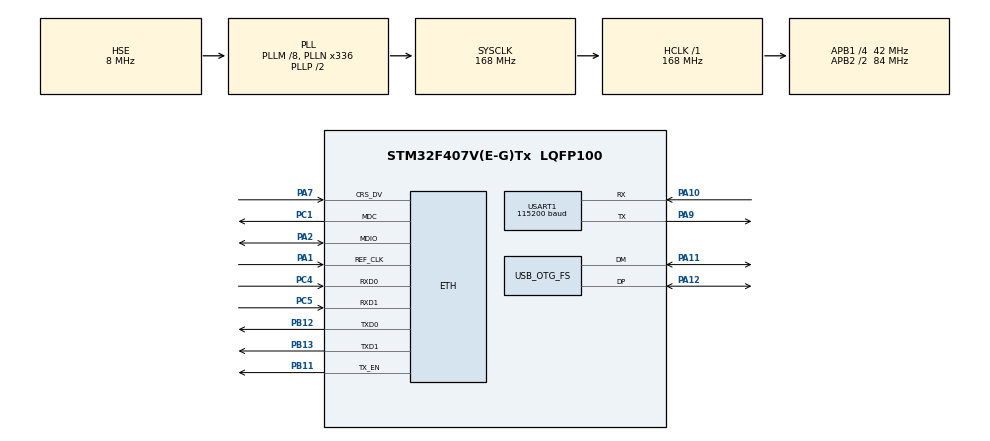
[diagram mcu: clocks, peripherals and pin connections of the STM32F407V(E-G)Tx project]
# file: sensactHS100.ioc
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ETH.MediaInterface=ETH_MEDIA_INTERFACE_RMII
ETH.PHY_Name_RMII=userPHY
ETH.PHY_SR=0x1f
ETH.PHY_User_Name=LAN8720
LWIP.GATEWAY_ADDRESS=192.168.001.001
LWIP.IP_ADDRESS=192.168.001.192
LWIP.LWIP_DHCP=0
LWIP.LWIP_HTTPD=1
LWIP.LWIP_HTTPD_SUPPORT_V09=0
LWIP.NETMASK_ADDRESS=255.255.255.000
LWIP.Version=v2.0.0_Cube
Mcu.Family=STM32F4
Mcu.Name=STM32F407V(E-G)Tx
Mcu.Package=LQFP100
NVIC.OTG_FS_IRQn=true\:0\:0\:false\:false\:true
NVIC.PriorityGroup=NVIC_PRIORITYGROUP_4
PA1.Mode=RMII
PA1.Signal=ETH_REF_CLK
PA10.Mode=Asynchronous
PA10.Signal=USART1_RX
PA11.Mode=Device_Only
PA11.Signal=USB_OTG_FS_DM
PA12.Mode=Device_Only
PA12.Signal=USB_OTG_FS_DP
PA2.Mode=RMII
PA2.Signal=ETH_MDIO
PA7.Mode=RMII
PA7.Signal=ETH_CRS_DV
PA9.Mode=Asynchronous
PA9.Signal=USART1_TX
PB11.Mode=RMII
PB11.Signal=ETH_TX_EN
PB12.Mode=RMII
PB12.Signal=ETH_TXD0
PB13.Mode=RMII
PB13.Signal=ETH_TXD1
PC1.Mode=RMII
PC1.Signal=ETH_MDC
PC4.Mode=RMII
PC4.Signal=ETH_RXD0
PC5.Mode=RMII
PC5.Signal=ETH_RXD1
PH0-OSC_IN.Mode=HSE-External-Oscillator
PH0-OSC_IN.Signal=RCC_OSC_IN
PH1-OSC_OUT.Mode=HSE-External-Oscillator
PH1-OSC_OUT.Signal=RCC_OSC_OUT
ProjectManager.HeapSize=0x200
ProjectManager.StackSize=0x400
ProjectManager.TargetToolchain=Makefile
RCC.48MHZClocksFreq_Value=48000000
RCC.AHBFreq_Value=168000000
RCC.APB1CLKDivider=RCC_HCLK_DIV4
RCC.APB1Freq_Value=42000000
RCC.APB1TimFreq_Value=84000000
RCC.APB2CLKDivider=RCC_HCLK_DIV2
RCC.APB2Freq_Value=84000000
RCC.APB2TimFreq_Value=168000000
RCC.CortexFreq_Value=168000000
RCC.HCLKFreq_Value=168000000
RCC.HSE_VALUE=8000000
RCC.HSI_VALUE=16000000
RCC.LSE_VALUE=32768
RCC.PLLM=8
RCC.PLLN=336
RCC.PLLQ=7
RCC.SYSCLKFreq_VALUE=168000000
RCC.SYSCLKSource=RCC_SYSCLKSOURCE_PLLCLK
RCC.VCOOutputFreq_Value=336000000
USART1.BaudRate=115200
USART1.VirtualMode=VM_ASYNC
USB_DEVICE.CLASS_NAME_FS=CDC
USB_DEVICE.USBD_DEBUG_LEVEL-CDC_FS=2
USB_DEVICE.VirtualModeFS=Cdc_FS
USB_OTG_FS.VirtualMode=Device_Only
USB_OTG_FS.vbus_sensing_enable=DISABLE
VP_LWIP_VS_Enabled.Mode=Enabled
VP_USB_DEVICE_VS_USB_DEVICE_CDC_FS.Mode=CDC_FS
board=sensactHS100

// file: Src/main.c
/**
  ******************************************************************************
  * File Name          : main.c
  * Description        : Main program body
  ******************************************************************************
  * This notice applies to any and all portions of this file
  * that are not between comment pairs USER CODE BEGIN and
  * USER CODE END. Other portions of this file, whether
  * inserted by the user or by software development tools
  * are owned by their respective copyright owners.
  *
  * Copyright (c) 2017 STMicroelectronics International N.V.
  * All rights reserved.
  *
  * Redistribution and use in source and binary forms, with or without
  * modification, are permitted, provided that the following conditions are met:
  *
  * 1. Redistribution of source code must retain the above copyright notice,
  *    this list of conditions and the following disclaimer.
  * 2. Redistributions in binary form must reproduce the above copyright notice,
  *    this list of conditions and the following disclaimer in the documentation
  *    and/or other materials provided with the distribution.
  * 3. Neither the name of STMicroelectronics nor the names of other
  *    contributors to this software may be used to endorse or promote products
  *    derived from this software without specific written permission.
  * 4. This software, including modifications and/or derivative works of this
  *    software, must execute solely and exclusively on microcontroller or
  *    microprocessor devices manufactured by or for STMicroelectronics.
  * 5. Redistribution and use of this software other than as permitted under
  *    this license is void and will automatically terminate your rights under
  *    this license.
  *
  * THIS SOFTWARE IS PROVIDED BY STMICROELECTRONICS AND CONTRIBUTORS "AS IS"
  * AND ANY EXPRESS, IMPLIED OR STATUTORY WARRANTIES, INCLUDING, BUT NOT
  * LIMITED TO, THE IMPLIED WARRANTIES OF MERCHANTABILITY, FITNESS FOR A
  * PARTICULAR PURPOSE AND NON-INFRINGEMENT OF THIRD PARTY INTELLECTUAL PROPERTY
  * RIGHTS ARE DISCLAIMED TO THE FULLEST EXTENT PERMITTED BY LAW. IN NO EVENT
  * SHALL STMICROELECTRONICS OR CONTRIBUTORS BE LIABLE FOR ANY DIRECT, INDIRECT,
  * INCIDENTAL, SPECIAL, EXEMPLARY, OR CONSEQUENTIAL DAMAGES (INCLUDING, BUT NOT
  * LIMITED TO, PROCUREMENT OF SUBSTITUTE GOODS OR SERVICES; LOSS OF USE, DATA,
  * OR PROFITS; OR BUSINESS INTERRUPTION) HOWEVER CAUSED AND ON ANY THEORY OF
  * LIABILITY, WHETHER IN CONTRACT, STRICT LIABILITY, OR TORT (INCLUDING
  * NEGLIGENCE OR OTHERWISE) ARISING IN ANY WAY OUT OF THE USE OF THIS SOFTWARE,
  * EVEN IF ADVISED OF THE POSSIBILITY OF SUCH DAMAGE.
  *
  ******************************************************************************
  */
#include "main.h"
#include "stm32f4xx_hal.h"
#include "lwip.h"
#include "usb_device.h"

/* USER CODE BEGIN Includes */
#include "lwip/apps/httpd.h"
#include "mqtt.h"
#include "string.h"
/* USER CODE END Includes */

UART_HandleTypeDef huart1;

/* USER CODE BEGIN PV */
/* Private variables ---------------------------------------------------------*/
  mqtt_client_t client;

/* USER CODE END PV */

void SystemClock_Config(void);
static void MX_GPIO_Init(void);
static void MX_USART1_UART_Init(void);

/* USER CODE BEGIN PFP */
/* Private function prototypes -----------------------------------------------*/
static void mqtt_connection_cb(mqtt_client_t *client, void *arg, mqtt_connection_status_t status);
static void mqtt_sub_request_cb(void *arg, err_t result);
static void mqtt_incoming_publish_cb(void *arg, const char *topic, u32_t tot_len);
static void mqtt_incoming_data_cb(void *arg, const u8_t *data, u16_t len, u8_t flags);
void example_publish(mqtt_client_t *client, void *arg);
static void mqtt_pub_request_cb(void *arg, err_t result);

/* USER CODE END PFP */

/* USER CODE BEGIN 0 */
static void mqtt_connection_cb(mqtt_client_t *client, void *arg, mqtt_connection_status_t status)
{
  err_t err;
  if(status == MQTT_CONNECT_ACCEPTED) {
    printf("mqtt_connection_cb: Successfully connected\n");

    /* Setup callback for incoming publish requests */
    mqtt_set_inpub_callback(client, mqtt_incoming_publish_cb, mqtt_incoming_data_cb, arg);

    /* Subscribe to a topic named "subtopic" with QoS level 1, call mqtt_sub_request_cb with result */
    err = mqtt_subscribe(client, "subtopic", 1, mqtt_sub_request_cb, arg);

    if(err != ERR_OK) {
      printf("mqtt_subscribe return: %d\n", err);
    }
  } else {
    printf("mqtt_connection_cb: Disconnected, reason: %d\n", status);

}
}

static void mqtt_sub_request_cb(void *arg, err_t result)
{
  /* Just print the result code here for simplicity,
     normal behaviour would be to take some action if subscribe fails like
     notifying user, retry subscribe or disconnect from server */
  printf("Subscribe result: %d\n", result);
}

/* The idea is to demultiplex topic and create some reference to be used in data callbacks
   Example here uses a global variable, better would be to use a member in arg
   If RAM and CPU budget allows it, the easiest implementation might be to just take a copy of
   the topic string and use it in mqtt_incoming_data_cb
*/
static int inpub_id;
static void mqtt_incoming_publish_cb(void *arg, const char *topic, u32_t tot_len)
{
  printf("Incoming publish at topic %s with total length %u\n", topic, (unsigned int)tot_len);

  /* Decode topic string into a user defined reference */
  if(strcmp(topic, "print_payload") == 0) {
    inpub_id = 0;
  } else if(topic[0] == 'A') {
    /* All topics starting with 'A' might be handled at the same way */
    inpub_id = 1;
  } else {
    /* For all other topics */
    inpub_id = 2;
  }
}

static void mqtt_incoming_data_cb(void *arg, const u8_t *data, u16_t len, u8_t flags)
{
  printf("Incoming publish payload with length %d, flags %u\n", len, (unsigned int)flags);

  if(flags & MQTT_DATA_FLAG_LAST) {
    /* Last fragment of payload received (or whole part if payload fits receive buffer
       See MQTT_VAR_HEADER_BUFFER_LEN)  */

    /* Call function or do action depending on reference, in this case inpub_id */
    if(inpub_id == 0) {
      /* Don't trust the publisher, check zero termination */
      if(data[len-1] == 0) {
        printf("mqtt_incoming_data_cb: %s\n", (const char *)data);
      }
    } else if(inpub_id == 1) {
      /* Call an 'A' function... */
    } else {
      printf("mqtt_incoming_data_cb: Ignoring payload...\n");
    }
  } else {
    /* Handle fragmented payload, store in buffer, write to file or whatever */
  }
}

void example_publish(mqtt_client_t *client, void *arg)
{
  const char *pub_payload= "PubSubHubLubJub";
  err_t err;
  u8_t qos = 2; /* 0 1 or 2, see MQTT specification */
  u8_t retain = 0; /* No don't retain such crappy payload... */
  err = mqtt_publish(client, "pub_topic", pub_payload, strlen(pub_payload), qos, retain, mqtt_pub_request_cb, arg);
  if(err != ERR_OK) {
    printf("Publish err: %d\n", err);
  }
}

/* Called when publish is complete either with sucess or failure */
static void mqtt_pub_request_cb(void *arg, err_t result)
{
  if(result != ERR_OK) {
    printf("Publish result: %d\n", result);
  }
}
/* USER CODE END 0 */

int main(void)
{

  /* MCU Configuration----------------------------------------------------------*/

  /* Reset of all peripherals, Initializes the Flash interface and the Systick. */
  HAL_Init();

  /* Configure the system clock */
  SystemClock_Config();

  /* Initialize all configured peripherals */
  MX_GPIO_Init();
  MX_LWIP_Init();
  MX_USART1_UART_Init();
  MX_USB_DEVICE_Init();

  /* USER CODE BEGIN 2 */
  printf("Application startup successful....\n");
  httpd_init();

  ip4_addr_t ip_addr;

  IP4_ADDR(&ip_addr, 192, 168, 1, 1);

  err_t err;

  // Setup an empty client info structure
  struct mqtt_connect_client_info_t ci;
  memset(&ci, 0, sizeof(ci));

  ci.client_id = "lwip_test";

  err = mqtt_client_connect(&client, &ip_addr, MQTT_PORT, mqtt_connection_cb, 0, &ci);

    // For now just print the result code if something goes wrong
    if(err != ERR_OK) {
      printf("mqtt_connect return %d\n", err);
    }

   uint8_t published=0;

  /* USER CODE END 2 */

  /* Infinite loop */
  /* USER CODE BEGIN WHILE */
  while (1)
  {
	  MX_LWIP_Process();

	  if(mqtt_client_is_connected(&client) && !published)
	  {
		  example_publish(&client, "Hallo Welt!");
		  published=1;
	  }

  /* USER CODE END WHILE */

  }

}

/** System Clock Configuration
*/
void SystemClock_Config(void)
{

  RCC_OscInitTypeDef RCC_OscInitStruct;
  RCC_ClkInitTypeDef RCC_ClkInitStruct;

    /**Configure the main internal regulator output voltage
    */
  __HAL_RCC_PWR_CLK_ENABLE();

  __HAL_PWR_VOLTAGESCALING_CONFIG(PWR_REGULATOR_VOLTAGE_SCALE1);

    /**Initializes the CPU, AHB and APB busses clocks
    */
  RCC_OscInitStruct.OscillatorType = RCC_OSCILLATORTYPE_HSE;
  RCC_OscInitStruct.HSEState = RCC_HSE_ON;
  RCC_OscInitStruct.PLL.PLLState = RCC_PLL_ON;
  RCC_OscInitStruct.PLL.PLLSource = RCC_PLLSOURCE_HSE;
  RCC_OscInitStruct.PLL.PLLM = 8;
  RCC_OscInitStruct.PLL.PLLN = 336;
  RCC_OscInitStruct.PLL.PLLP = RCC_PLLP_DIV2;
  RCC_OscInitStruct.PLL.PLLQ = 7;
  if (HAL_RCC_OscConfig(&RCC_OscInitStruct) != HAL_OK)
  {
    _Error_Handler(__FILE__, __LINE__);
  }

    /**Initializes the CPU, AHB and APB busses clocks
    */
  RCC_ClkInitStruct.ClockType = RCC_CLOCKTYPE_HCLK|RCC_CLOCKTYPE_SYSCLK
                              |RCC_CLOCKTYPE_PCLK1|RCC_CLOCKTYPE_PCLK2;
  RCC_ClkInitStruct.SYSCLKSource = RCC_SYSCLKSOURCE_PLLCLK;
  RCC_ClkInitStruct.AHBCLKDivider = RCC_SYSCLK_DIV1;
  RCC_ClkInitStruct.APB1CLKDivider = RCC_HCLK_DIV4;
  RCC_ClkInitStruct.APB2CLKDivider = RCC_HCLK_DIV2;

  if (HAL_RCC_ClockConfig(&RCC_ClkInitStruct, FLASH_LATENCY_5) != HAL_OK)
  {
    _Error_Handler(__FILE__, __LINE__);
  }

    /**Configure the Systick interrupt time
    */
  HAL_SYSTICK_Config(HAL_RCC_GetHCLKFreq()/1000);

    /**Configure the Systick
    */
  HAL_SYSTICK_CLKSourceConfig(SYSTICK_CLKSOURCE_HCLK);

  /* SysTick_IRQn interrupt configuration */
  HAL_NVIC_SetPriority(SysTick_IRQn, 0, 0);
}

/* USART1 init function */
static void MX_USART1_UART_Init(void)
{

  huart1.Instance = USART1;
  huart1.Init.BaudRate = 115200;
  huart1.Init.WordLength = UART_WORDLENGTH_8B;
  huart1.Init.StopBits = UART_STOPBITS_1;
  huart1.Init.Parity = UART_PARITY_NONE;
  huart1.Init.Mode = UART_MODE_TX_RX;
  huart1.Init.HwFlowCtl = UART_HWCONTROL_NONE;
  huart1.Init.OverSampling = UART_OVERSAMPLING_16;
  if (HAL_UART_Init(&huart1) != HAL_OK)
  {
    _Error_Handler(__FILE__, __LINE__);
  }

}

/** Configure pins as
        * Analog
        * Input
        * Output
        * EVENT_OUT
        * EXTI
*/
static void MX_GPIO_Init(void)
{

  /* GPIO Ports Clock Enable */
  __HAL_RCC_GPIOH_CLK_ENABLE();
  __HAL_RCC_GPIOC_CLK_ENABLE();
  __HAL_RCC_GPIOA_CLK_ENABLE();
  __HAL_RCC_GPIOB_CLK_ENABLE();

}

void _Error_Handler(char * file, int line)
{
  while(1)
  {
  }
}

/************************ (C) COPYRIGHT STMicroelectronics *****END OF FILE****/
